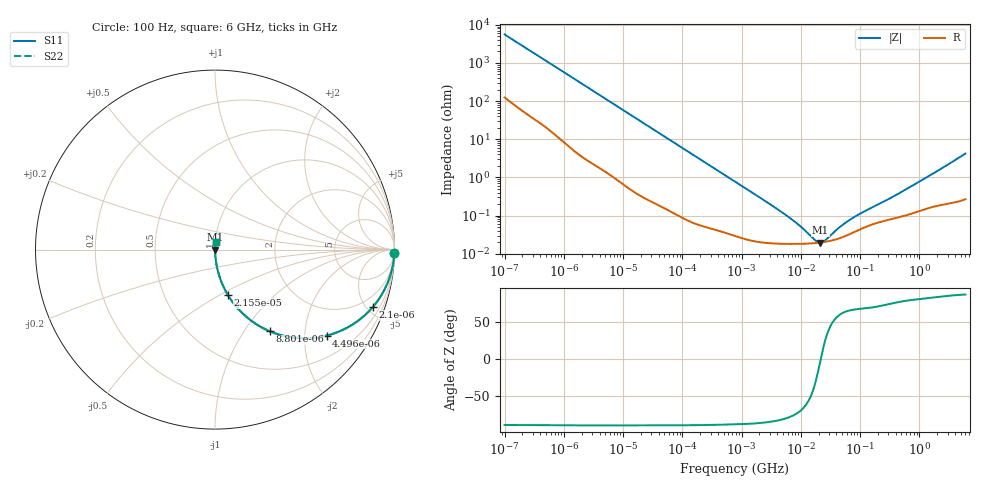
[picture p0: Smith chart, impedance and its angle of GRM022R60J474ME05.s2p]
!Murata Part Number: GRM022R60J474ME05
!These Parameters are Measured in Series Mode Connection
!Data Generated on Mar 30, 2021
!  o--ll--o
!Port1  Port2
!  o------o
!Operation Temp=25[degC], DC Bias Voltage=0[V]
!Freq. Start=100[Hz] Stop=6[GHz] 401[Steps]
# Hz S RI R 50
!Freq.(Hz) S11(Real) S11(Imag) S21(Real) S21(Imag) S12(Real) S12(Imag) S22(Real) S22(Imag)
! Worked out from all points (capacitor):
!   401 points, 100 Hz to 6 GHz, reference 50 ohm
!   read as one part in series: C = 284 nF near 109 Hz
!   lowest |Z| = 19.6 mohm at 21.28 MHz (marker M1)
!   series resonance near 21.75 MHz, so ESL is about 190 pH
!   S11 on the Smith chart (normalised r, x): 100 Hz: open; 2.1 kHz: 1.07, -5.48; 4.496 kHz: 1.03, -2.57; 8.801 kHz: 1.02, -1.32; 21.55 kHz: 1.01, -0.54; 6 GHz: 1.01, +0.08
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100  0.9993 -0.0179  0.000722 0.0179  0.000722 0.0179  0.9993 -0.0179
600  0.9873 -0.1037  0.0127 0.1037  0.0127 0.1037  0.9873 -0.1037
2008  0.8885 -0.3087  0.1115 0.3087  0.1115 0.3087  0.8885 -0.3087
2100  0.8796 -0.3195  0.1204 0.3195  0.1204 0.3195  0.8796 -0.3195
3005  0.7838 -0.4057  0.2162 0.4057  0.2162 0.4057  0.7838 -0.4057
4496  0.6221 -0.4788  0.3779 0.4788  0.3779 0.4788  0.6221 -0.4788
8801  0.3062 -0.4552  0.6938 0.4552  0.6938 0.4552  0.3062 -0.4552
13772  0.1549 -0.3564  0.8451 0.3564  0.8451 0.3564  0.1549 -0.3564
21550  0.071 -0.2513  0.929 0.2513  0.929 0.2513  0.071 -0.2513
40335  0.0225 -0.142  0.9775 0.142  0.9775 0.142  0.0225 -0.142
129199  0.00281 -0.0457  0.9972 0.0457  0.9972 0.0457  0.00281 -0.0457
774597  0.000352 -0.00777  0.9996 0.00777  0.9996 0.00777  0.000352 -0.00777
6075234  0.000182 -0.000924  0.9998 0.000924  0.9998 0.000924  0.000182 -0.000924
9941735  0.000182 -0.000484  0.9998 0.000484  0.9998 0.000484  0.000182 -0.000484
1.555665e7  0.000187 -0.00019  0.9998 0.00019  0.9998 0.00019  0.000187 -0.00019
1.86079e7  0.000191 -8.69e-05  0.9998 8.69e-05  0.9998 8.69e-05  0.000191 -8.69e-05
2.128304e7  0.000196 -1.19e-05  0.9998 1.19e-05  0.9998 1.19e-05  0.000196 -1.19e-05
2.545746e7  0.000204 8.72e-05  0.9998 -8.72e-05  0.9998 -8.72e-05  0.000204 8.72e-05
4.556224e7  0.000256 0.000431  0.9997 -0.000431  0.9997 -0.000431  0.000256 0.000431
7.129496e7  0.000341 0.000748  0.9997 -0.000748  0.9997 -0.000748  0.000341 0.000748
3.124326e8  0.000786 0.00266  0.9992 -0.00266  0.9992 -0.00266  0.000786 0.00266
6e9  0.00442 0.0417  0.9956 -0.0417  0.9956 -0.0417  0.00442 0.0417
